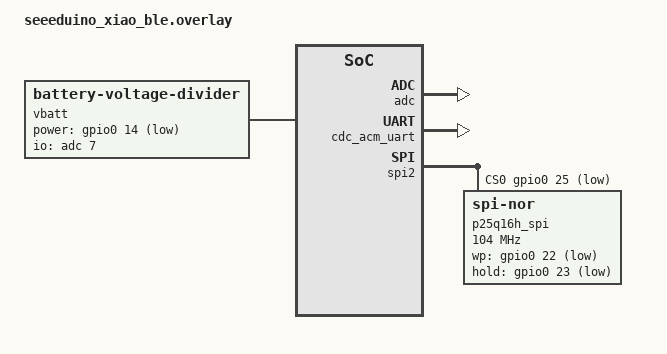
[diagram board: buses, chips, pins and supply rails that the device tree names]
/*
 * Copyright (c) 2021 The ZMK Contributors
 *
 * SPDX-License-Identifier: MIT
 */


/ {
    chosen {
        zephyr,console = &cdc_acm_uart;
        zmk,battery = &vbatt;
    };

    vbatt: vbatt {
        compatible = "zmk,battery-voltage-divider";
        io-channels = <&adc 7>;
        power-gpios = <&gpio0 14 (GPIO_OPEN_DRAIN | GPIO_ACTIVE_LOW)>;
        output-ohms = <510000>;
        full-ohms = <(1000000 + 510000)>;
    };
};

&adc {
    status = "okay";
};

&usbd {
    cdc_acm_uart: cdc_acm_uart {
        compatible = "zephyr,cdc-acm-uart";
    };
};

&qspi {status = "disabled"; };

&spi2_default {
    group1 {
        psels = <NRF_PSEL(SPIM_SCK, 0, 21)>,
                <NRF_PSEL(SPIM_MOSI, 0, 20)>,
                <NRF_PSEL(SPIM_MISO, 0, 24)>;
    };
};

&spi2_sleep {
    group1 {
        psels = <NRF_PSEL(SPIM_SCK, 0, 21)>,
                <NRF_PSEL(SPIM_MOSI, 0, 20)>,
                <NRF_PSEL(SPIM_MISO, 0, 24)>;
        low-power-enable;
    };
};

&spi2 {
    status = "okay";
    pinctrl-0 = <&spi2_default>;
    pinctrl-1 = <&spi2_sleep>;
    pinctrl-names = "default", "sleep";
    cs-gpios = <&gpio0 25 GPIO_ACTIVE_LOW>;
    p25q16h_spi: p25q16h@0 {
        compatible = "jedec,spi-nor";
        reg = <0>;
        wp-gpios = <&gpio0 22 GPIO_ACTIVE_LOW>;
        hold-gpios = <&gpio0 23 GPIO_ACTIVE_LOW>;
        spi-max-frequency = <104000000>;
        jedec-id = [ 85 60 15  ];
        sfdp-bfp = [ e5 20 f1 ff ff ff ff 00 44 eb 08 6b 08 3b 80 bb ee ff ff ff ff ff 00 ff ff ff 00 ff 0c 20 0f 52 10 d8 08 81  ];
        size = <16777216>;
        has-dpd;
        t-enter-dpd = <3000>;
        t-exit-dpd = <8000>;
    };
};
